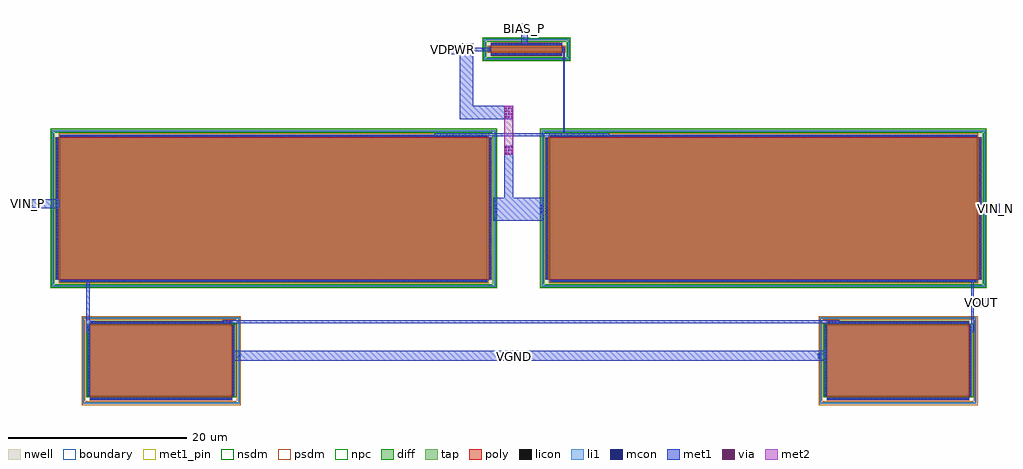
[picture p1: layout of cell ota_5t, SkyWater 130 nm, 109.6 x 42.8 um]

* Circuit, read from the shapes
.subckt ota_5t BIAS_P VDPWR VGND VIN_N VIN_P VOUT
XM1 VGND sky130_fd_pr__nfet_01v8_RD9KXH_1/D sky130_fd_pr__nfet_01v8_RD9KXH_1/D VGND sky130_fd_pr__nfet_01v8 w=8 l=16
XM2 VOUT sky130_fd_pr__nfet_01v8_RD9KXH_1/D VGND VGND sky130_fd_pr__nfet_01v8 w=8 l=16
XM3 sky130_fd_pr__pfet_01v8_WEZ9AX_0/D VIN_P sky130_fd_pr__nfet_01v8_RD9KXH_1/D VDPWR sky130_fd_pr__pfet_01v8 w=48 l=16
XM4 sky130_fd_pr__pfet_01v8_WEZ9AX_0/D BIAS_P VDPWR VDPWR sky130_fd_pr__pfet_01v8 w=0.5 l=8
XM5 sky130_fd_pr__pfet_01v8_WEZ9AX_0/D VIN_N VOUT VDPWR sky130_fd_pr__pfet_01v8 w=48 l=16
.ends

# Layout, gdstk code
from math import pi, radians
import gdstk
lib = gdstk.Library(unit=1e-6, precision=1e-09)
def R(c, l, rs):  # rectangles x0, y0, x1, y1
    for r in rs: c.add(gdstk.rectangle(r[:2], r[2:], *l))
def A(c, l, x, y, w, h, nx, ny, dx, dy):  # array of equal rectangles
    R(c, l, [(x+i*dx, y+j*dy, x+i*dx+w, y+j*dy+h) for i in range(nx) for j in range(ny)])
nwell = (64, 20)
diff = (65, 20)
tap = (65, 44)
poly = (66, 20)
licon = (66, 44)
li1 = (67, 20)
mcon = (67, 44)
met1_pin = (68, 16)
met1 = (68, 20)
via = (68, 44)
met2 = (69, 20)
nsdm = (93, 44)
psdm = (94, 20)
npc = (95, 20)
boundary = (235, 4)

sky130_fd_pr__pfet_01v8_ = lib.new_cell('sky130_fd_pr__pfet_01v8_WEZ9AX')
R(sky130_fd_pr__pfet_01v8_, nwell, [(-4.98,-1.345,4.98,1.345)])
R(sky130_fd_pr__pfet_01v8_, diff, [(-4.29,-0.25,4.29,0.25)])
R(sky130_fd_pr__pfet_01v8_, tap, [(-4.8,-1.165,4.8,-0.995), (-4.8,-0.995,-4.63,0.995), (4.63,-0.995,4.8,0.995), (-4.8,0.995,4.8,1.165)])
R(sky130_fd_pr__pfet_01v8_, poly, [(-4,-0.735,4,0.735)])
A(sky130_fd_pr__pfet_01v8_, licon, -4.165, -1.165, 0.17, 0.17, 25, 2, 0.34, 2.16)
A(sky130_fd_pr__pfet_01v8_, licon, -3.825, -0.655, 0.17, 0.17, 23, 2, 0.34, 1.14)
A(sky130_fd_pr__pfet_01v8_, licon, -4.8, -0.595, 0.17, 0.17, 1, 4, 0, 0.34)
A(sky130_fd_pr__pfet_01v8_, licon, 4.63, -0.595, 0.17, 0.17, 1, 4, 0, 0.34)
R(sky130_fd_pr__pfet_01v8_, licon, [(-4.23,-0.085,-4.06,0.085), (4.06,-0.085,4.23,0.085)])
R(sky130_fd_pr__pfet_01v8_, li1, [(-4.8,-1.165,4.8,-0.995), (-4.8,-0.995,-4.63,0.995), (4.63,-0.995,4.8,0.995), (-4,-0.655,4,-0.485), (-4.23,-0.27,-4.06,0.27), (4.06,-0.27,4.23,0.27), (-4,0.485,4,0.655), (-4.8,0.995,4.8,1.165)])
A(sky130_fd_pr__pfet_01v8_, mcon, -3.865, -0.655, 0.17, 0.17, 22, 2, 0.36, 1.14)
R(sky130_fd_pr__pfet_01v8_, mcon, [(-4.23,-0.085,-4.06,0.085), (4.06,-0.085,4.23,0.085)])
R(sky130_fd_pr__pfet_01v8_, met1, [(-3.98,-0.685,3.98,-0.455), (-4.26,-0.25,-4.03,0.25), (4.03,-0.25,4.26,0.25), (-3.98,0.455,3.98,0.685)])
R(sky130_fd_pr__pfet_01v8_, nsdm, [(-4.925,-1.29,4.925,-0.87), (-4.925,-0.87,-4.505,0.87), (4.505,-0.87,4.925,0.87), (-4.925,0.87,4.925,1.29)])
R(sky130_fd_pr__pfet_01v8_, psdm, [(-4.415,-0.375,4.415,0.375)])
R(sky130_fd_pr__pfet_01v8_, npc, [(-3.925,-0.755,3.925,-0.385), (-3.925,0.385,3.925,0.755)])
R(sky130_fd_pr__pfet_01v8_, boundary, [(-4.715,-1.08,4.715,1.08)])
sky130_fd_pr__pfet_01v8_.add(gdstk.Label('B', (0,-1.08), layer=67, texttype=5))
sky130_fd_pr__pfet_01v8_.add(gdstk.Label('D', (-4.145,0), layer=67, texttype=5))
sky130_fd_pr__pfet_01v8_.add(gdstk.Label('S', (4.145,0), layer=67, texttype=5))
sky130_fd_pr__pfet_01v8_.add(gdstk.Label('G', (0,0.57), layer=67, texttype=5))

sky130_fd_pr__nfet_01v8_ = lib.new_cell('sky130_fd_pr__nfet_01v8_RD9KXH')
R(sky130_fd_pr__nfet_01v8_, diff, [(-8.29,-4,8.29,4)])
R(sky130_fd_pr__nfet_01v8_, tap, [(-8.8,-4.87,8.8,-4.7), (-8.8,-4.7,-8.63,4.7), (8.63,-4.7,8.8,4.7), (-8.8,4.7,8.8,4.87)])
R(sky130_fd_pr__nfet_01v8_, poly, [(-8,-4.44,8,4.44)])
A(sky130_fd_pr__nfet_01v8_, licon, -8.245, -4.87, 0.17, 0.17, 49, 2, 0.34, 9.57)
A(sky130_fd_pr__nfet_01v8_, licon, -7.905, -4.36, 0.17, 0.17, 47, 2, 0.34, 8.55)
A(sky130_fd_pr__nfet_01v8_, licon, -8.8, -4.335, 0.17, 0.17, 1, 26, 0, 0.34)
A(sky130_fd_pr__nfet_01v8_, licon, 8.63, -4.335, 0.17, 0.17, 1, 26, 0, 0.34)
A(sky130_fd_pr__nfet_01v8_, licon, -8.23, -3.825, 0.17, 0.17, 1, 23, 0, 0.34)
A(sky130_fd_pr__nfet_01v8_, licon, 8.06, -3.825, 0.17, 0.17, 1, 23, 0, 0.34)
R(sky130_fd_pr__nfet_01v8_, li1, [(-8.8,-4.87,8.8,-4.7), (-8.8,-4.7,-8.63,4.7), (8.63,-4.7,8.8,4.7), (-8,-4.36,8,-4.19), (-8.23,-4.02,-8.06,4.02), (8.06,-4.02,8.23,4.02), (-8,4.19,8,4.36), (-8.8,4.7,8.8,4.87)])
A(sky130_fd_pr__nfet_01v8_, mcon, -7.825, -4.36, 0.17, 0.17, 44, 2, 0.36, 8.55)
A(sky130_fd_pr__nfet_01v8_, mcon, -8.23, -3.865, 0.17, 0.17, 1, 22, 0, 0.36)
A(sky130_fd_pr__nfet_01v8_, mcon, 8.06, -3.865, 0.17, 0.17, 1, 22, 0, 0.36)
R(sky130_fd_pr__nfet_01v8_, met1, [(-7.98,-4.39,7.98,-4.16), (-8.26,-4,-8.03,4), (8.03,-4,8.26,4), (-7.98,4.16,7.98,4.39)])
R(sky130_fd_pr__nfet_01v8_, nsdm, [(-8.415,-4.125,8.415,4.125)])
R(sky130_fd_pr__nfet_01v8_, psdm, [(-8.925,-4.995,8.925,-4.575), (-8.925,-4.575,-8.505,4.575), (8.505,-4.575,8.925,4.575), (-8.925,4.575,8.925,4.995)])
R(sky130_fd_pr__nfet_01v8_, npc, [(-8.005,-4.46,8.005,-4.09), (-8.005,4.09,8.005,4.46)])
R(sky130_fd_pr__nfet_01v8_, boundary, [(-8.715,-4.785,8.715,4.785)])
sky130_fd_pr__nfet_01v8_.add(gdstk.Label('B', (0,-4.785), layer=67, texttype=5))
sky130_fd_pr__nfet_01v8_.add(gdstk.Label('D', (-8.145,0), layer=67, texttype=5))
sky130_fd_pr__nfet_01v8_.add(gdstk.Label('S', (8.145,0), layer=67, texttype=5))
sky130_fd_pr__nfet_01v8_.add(gdstk.Label('G', (0,4.275), layer=67, texttype=5))

c_sky130_fd_pr__pfet_01v8_ = lib.new_cell('sky130_fd_pr__pfet_01v8_YLC4GL')
R(c_sky130_fd_pr__pfet_01v8_, nwell, [(-8.98,-25.095,8.98,25.095)])
R(c_sky130_fd_pr__pfet_01v8_, diff, [(-8.29,-24,8.29,24)])
R(c_sky130_fd_pr__pfet_01v8_, tap, [(-8.8,-24.915,8.8,-24.745), (-8.8,-24.745,-8.63,24.745), (8.63,-24.745,8.8,24.745), (-8.8,24.745,8.8,24.915)])
R(c_sky130_fd_pr__pfet_01v8_, poly, [(-8,-24.485,8,24.485)])
A(c_sky130_fd_pr__pfet_01v8_, licon, -8.245, -24.915, 0.17, 0.17, 49, 2, 0.34, 49.66)
A(c_sky130_fd_pr__pfet_01v8_, licon, -7.905, -24.405, 0.17, 0.17, 47, 2, 0.34, 48.64)
A(c_sky130_fd_pr__pfet_01v8_, licon, -8.8, -24.395, 0.17, 0.17, 1, 144, 0, 0.34)
A(c_sky130_fd_pr__pfet_01v8_, licon, 8.63, -24.395, 0.17, 0.17, 1, 144, 0, 0.34)
A(c_sky130_fd_pr__pfet_01v8_, licon, -8.23, -23.885, 0.17, 0.17, 1, 141, 0, 0.34)
A(c_sky130_fd_pr__pfet_01v8_, licon, 8.06, -23.885, 0.17, 0.17, 1, 141, 0, 0.34)
R(c_sky130_fd_pr__pfet_01v8_, li1, [(-8.8,-24.915,8.8,-24.745), (-8.8,-24.745,-8.63,24.745), (8.63,-24.745,8.8,24.745), (-8,-24.405,8,-24.235), (-8.23,-24.02,-8.06,24.02), (8.06,-24.02,8.23,24.02), (-8,24.235,8,24.405), (-8.8,24.745,8.8,24.915)])
A(c_sky130_fd_pr__pfet_01v8_, mcon, -7.825, -24.405, 0.17, 0.17, 44, 2, 0.36, 48.64)
A(c_sky130_fd_pr__pfet_01v8_, mcon, -8.23, -23.845, 0.17, 0.17, 1, 133, 0, 0.36)
A(c_sky130_fd_pr__pfet_01v8_, mcon, 8.06, -23.845, 0.17, 0.17, 1, 133, 0, 0.36)
R(c_sky130_fd_pr__pfet_01v8_, met1, [(-7.98,-24.435,7.98,-24.205), (-8.26,-24,-8.03,24), (8.03,-24,8.26,24), (-7.98,24.205,7.98,24.435)])
R(c_sky130_fd_pr__pfet_01v8_, nsdm, [(-8.925,-25.04,8.925,-24.62), (-8.925,-24.62,-8.505,24.62), (8.505,-24.62,8.925,24.62), (-8.925,24.62,8.925,25.04)])
R(c_sky130_fd_pr__pfet_01v8_, psdm, [(-8.415,-24.125,8.415,24.125)])
R(c_sky130_fd_pr__pfet_01v8_, npc, [(-8.005,-24.505,8.005,-24.135), (-8.005,24.135,8.005,24.505)])
R(c_sky130_fd_pr__pfet_01v8_, boundary, [(-8.715,-24.83,8.715,24.83)])
c_sky130_fd_pr__pfet_01v8_.add(gdstk.Label('B', (0,-24.83), layer=67, texttype=5))
c_sky130_fd_pr__pfet_01v8_.add(gdstk.Label('D', (-8.145,0), layer=67, texttype=5))
c_sky130_fd_pr__pfet_01v8_.add(gdstk.Label('S', (8.145,0), layer=67, texttype=5))
c_sky130_fd_pr__pfet_01v8_.add(gdstk.Label('G', (0,24.32), layer=67, texttype=5))

ota_5t = lib.new_cell('ota_5t')
R(ota_5t, li1, [(91.2,-17.9,91.6,-17.3), (26.1,-17.8,26.4,-17.3), (54.9,-1.6,55.2,-0.5), (60,-1.6,60.3,-0.5), (53.5,16.7,53.8,17)])
A(ota_5t, mcon, 54.965, -1.495, 0.17, 0.17, 1, 3, 0, 0.36)
A(ota_5t, mcon, 60.065, -1.495, 0.17, 0.17, 1, 3, 0, 0.36)
R(ota_5t, mcon, [(91.315,-17.865,91.485,-17.695), (26.165,-17.635,26.335,-17.465), (91.315,-17.505,91.485,-17.335), (53.565,16.765,53.735,16.935)])
R(ota_5t, met1_pin, [(56.6,-18.1,57.6,-17.1), (109.1,-12.1,110.1,-11.1), (110.6,-1.5,111.6,-0.5), (2,-1,3,0), (49.7,16.3,50.7,17.3), (57.8,18.7,58.8,19.7)])
R(ota_5t, met1, [(25.6,-18.1,92.1,-17), (9.05,-14.95,9.4,-13.95), (108.4,-14.9,108.7,-12.1), (9.05,-13.95,9.95,-13.65), (24.35,-13.9,93.6,-13.55), (9.05,-13.65,9.45,-9.1), (108.4,-12.1,110.1,-11.1), (108.4,-11.1,108.7,-9.1), (54.8,-2.4,60.4,0.2), (109.4,-1.5,111.6,-0.5), (2,-1,6,0), (56,0.2,57,6), (62.6,7,62.8,7.1), (48.1,7.1,67.8,7.4), (62.6,7.4,62.8,17.1), (51,9,57,10.5), (51,10.5,52.5,16.3), (49.7,16.3,52.5,16.65), (49.7,16.65,54.4,17.05), (49.7,17.05,52.5,17.3), (51,17.3,52.5,17.5), (57.9,17.4,58.6,18.7), (57.8,18.7,58.8,19.7)])
A(ota_5t, via, 56.105, 5.105, 0.15, 0.15, 3, 3, 0.32, 0.32)
A(ota_5t, via, 56.105, 9.17, 0.15, 0.15, 3, 4, 0.32, 0.32)
R(ota_5t, met2, [(56,5,57,10.5)])
ota_5t.add(gdstk.Reference(sky130_fd_pr__pfet_01v8_, (58.48,16.845), rotation=pi))
ota_5t.add(gdstk.Reference(sky130_fd_pr__nfet_01v8_, (17.46,-18.11)))
ota_5t.add(gdstk.Reference(sky130_fd_pr__nfet_01v8_, (100.21,-18.11), rotation=pi))
ota_5t.add(gdstk.Reference(c_sky130_fd_pr__pfet_01v8_, (30.095,-1.02), rotation=pi/2))
ota_5t.add(gdstk.Reference(c_sky130_fd_pr__pfet_01v8_, (85.095,-1.02), rotation=pi/2))
ota_5t.add(gdstk.Label('BIAS_P', (58.3,19.2), layer=68, texttype=5))
ota_5t.add(gdstk.Label('VDPWR', (50.2,16.8), layer=68, texttype=5))
ota_5t.add(gdstk.Label('VIN_P', (2.5,-0.5), layer=68, texttype=5))
ota_5t.add(gdstk.Label('VIN_N', (111.1,-1), layer=68, texttype=5))
ota_5t.add(gdstk.Label('VOUT', (109.6,-11.6), layer=68, texttype=5))
ota_5t.add(gdstk.Label('VGND', (57.1,-17.6), layer=68, texttype=5))

lib.write_gds('ota_5t.gds')
